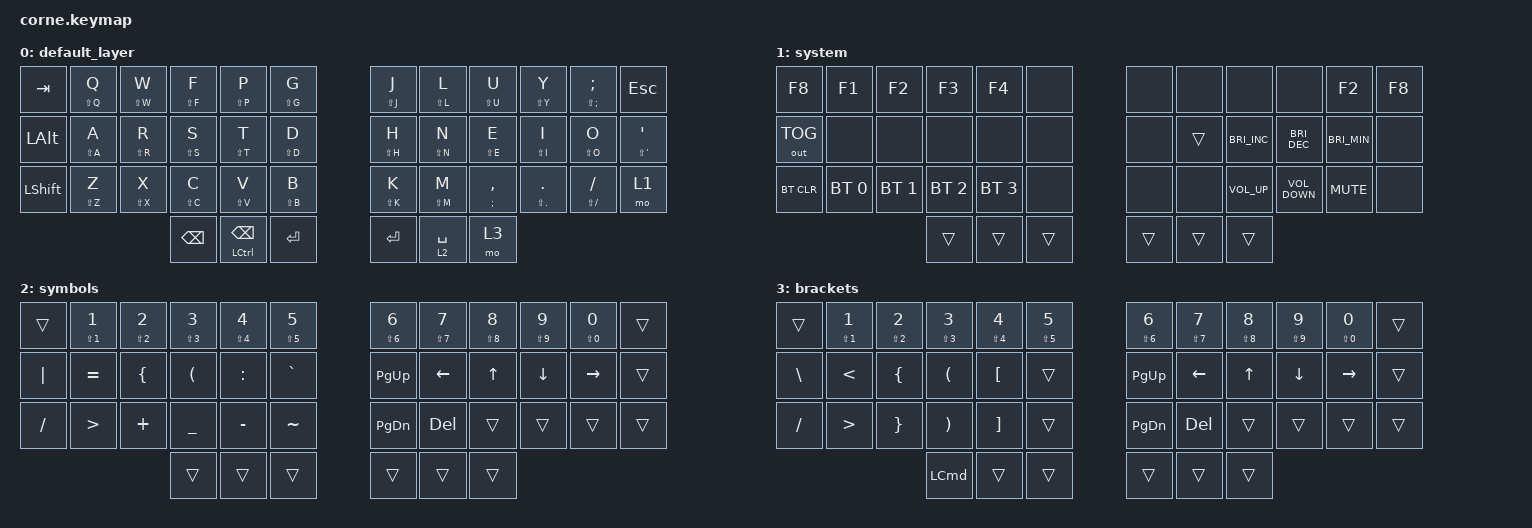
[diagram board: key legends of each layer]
/*
 * Copyright (c) 2020 The ZMK Contributors
 *
 * SPDX-License-Identifier: MIT
 */

#include <behaviors.dtsi>
#include <dt-bindings/zmk/bt.h>
#include <dt-bindings/zmk/keys.h>
#include <dt-bindings/zmk/outputs.h>

#define DEFAULT 0
#define LOWER 1
#define RAISE 2
#define NAV 3

/ {
    behaviors {
        htp: homerow_mods {
            compatible = "zmk,behavior-hold-tap";
            #binding-cells = <2>;
            tapping-term-ms = <250>;
            quick-tap-ms = <0>;
            flavor = "tap-preferred";
            bindings = <&kp>, <&kp>;
        };
    };

    keymap {
        compatible = "zmk,keymap";

        default_layer {
            bindings = <
&kp TAB    &htp LS(Q) Q  &htp LS(W) W  &htp LS(F) F  &htp LS(P) P     &htp LS(G) G    &htp LS(J) J  &htp LS(L) L  &htp LS(U) U     &htp LS(Y) Y      &htp LS(SEMI) SEMI  &kp ESC
&kp LALT   &htp LS(A) A  &htp LS(R) R  &htp LS(S) S  &htp LS(T) T     &htp LS(D) D    &htp LS(H) H  &htp LS(N) N  &htp LS(E) E     &htp LS(I) I      &htp LS(O) O        &htp LS(SQT) SQT
&kp LSHFT  &htp LS(Z) Z  &htp LS(X) X  &htp LS(C) C  &htp LS(V) V     &htp LS(B) B    &htp LS(K) K  &htp LS(M) M  &htp SEMI COMMA  &htp LS(DOT) DOT  &htp LS(FSLH) FSLH  &mo 1
                                       &kp BSPC      &htp LCTRL BSPC  &kp RET         &kp RET       &lt 2 SPACE   &mo 3
            >;
        };

        system {
            bindings = <
&kp F8        &kp F1        &kp F2        &kp F3        &kp F4        &none     &none   &none   &none                 &none                 &kp F2         &kp F8
&out OUT_TOG  &none         &none         &none         &none         &none     &none   &trans  &kp C_BRIGHTNESS_INC  &kp C_BRIGHTNESS_DEC  &kp C_BRI_MIN  &none
&bt BT_CLR    &bt BT_SEL 0  &bt BT_SEL 1  &bt BT_SEL 2  &bt BT_SEL 3  &none     &none   &none   &kp C_VOLUME_UP       &kp C_VOLUME_DOWN     &kp K_MUTE     &none
                                          &trans        &trans        &trans    &trans  &trans  &trans
            >;
        };

        symbols {
            bindings = <
&trans     &htp LS(N1) N1  &htp LS(N2) N2  &htp LS(N3) N3        &htp LS(N4) N4  &htp LS(N5) N5    &htp LS(N6) N6  &htp LS(N7) N7  &htp LS(N8) N8  &htp LS(N9) N9  &htp LS(N0) N0  &trans
&kp PIPE   &kp EQUAL       &kp LEFT_BRACE  &kp LEFT_PARENTHESIS  &kp COLON       &kp GRAVE         &kp PG_UP       &kp LEFT        &kp UP          &kp DOWN        &kp RIGHT       &trans
&kp SLASH  &kp GT          &kp PLUS        &kp UNDER             &kp MINUS       &kp TILDE         &kp PG_DN       &kp DEL         &trans          &trans          &trans          &trans
                                           &trans                &trans          &trans            &trans          &trans          &trans
            >;
        };

        brackets {
            bindings = <
&trans         &htp LS(N1) N1  &htp LS(N2) N2   &htp LS(N3) N3         &htp LS(N4) N4     &htp LS(N5) N5    &htp LS(N6) N6  &htp LS(N7) N7  &htp LS(N8) N8  &htp LS(N9) N9  &htp LS(N0) N0  &trans
&kp BACKSLASH  &kp LT          &kp LEFT_BRACE   &kp LEFT_PARENTHESIS   &kp LEFT_BRACKET   &trans            &kp PAGE_UP     &kp LEFT        &kp UP          &kp DOWN        &kp RIGHT       &trans
&kp SLASH      &kp GT          &kp RIGHT_BRACE  &kp RIGHT_PARENTHESIS  &kp RIGHT_BRACKET  &trans            &kp PAGE_DOWN   &kp DELETE      &trans          &trans          &trans          &trans
                                                &kp LEFT_COMMAND       &trans             &trans            &trans          &trans          &trans
            >;
        };
    };
};
